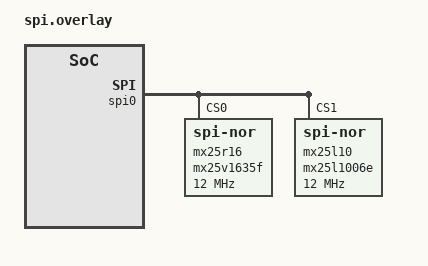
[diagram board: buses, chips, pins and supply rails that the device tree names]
/*
 * Copyright (c) 2025 ITE Corporation. All Rights Reserved.
 *
 * SPDX-License-Identifier: Apache-2.0
 */

/ {
	aliases {
		spi-flash0 = &mx25r16;
	};
};

&spi0 {
	status = "okay";
	/* fifo mode is supported under level-triggered mode,
	 * and edge-triggered mode is used in pio mode.
	 */
	interrupts = <IT51XXX_IRQ_SPI IRQ_TYPE_LEVEL_HIGH>;
	/* interrupts = <IT51XXX_IRQ_SPI IRQ_TYPE_EDGE_RISING>; */

	pinctrl-0 = <&ssce0_gpj7_default
		     &ssce1_gph7_default
		     &ssck_gpa6_default
		     &smosi_gpc6_default
		     &smiso_gpc4_default>;
	pinctrl-names = "default";

	mx25r16: mx25v1635f@0 {
		compatible = "jedec,spi-nor";
		reg = <0>;
		spi-max-frequency = <12000000>;
		jedec-id = [c2 23 15];
		size = <0x1000000>; // 16Mb
		use-fast-read;
	};

	mx25l10: mx25l1006e@1 {
		compatible = "jedec,spi-nor";
		reg = <1>;
		spi-max-frequency = <12000000>;
		jedec-id = [c2 20 11];
		size = <0x100000>; // 1Mb
	};
};
